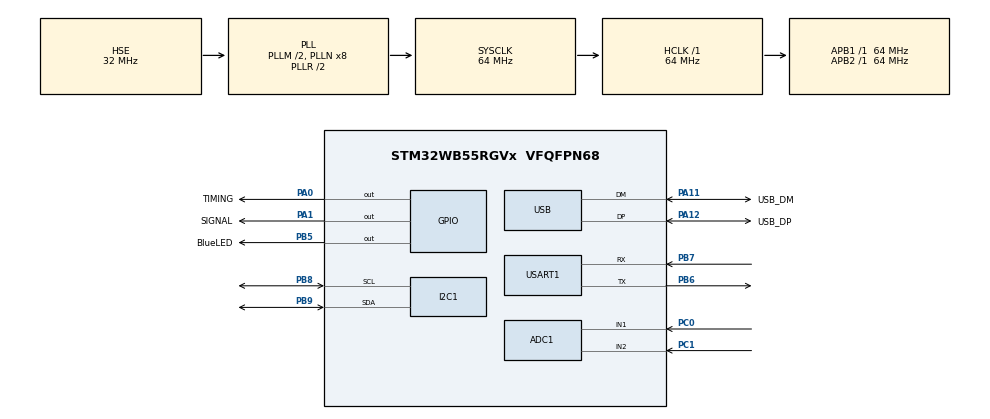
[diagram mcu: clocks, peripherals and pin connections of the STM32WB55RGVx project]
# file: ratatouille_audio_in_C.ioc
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ADC1.Channel-0\#ChannelRegularConversion=ADC_CHANNEL_1
ADC1.Channel-1\#ChannelRegularConversion=ADC_CHANNEL_2
ADC1.ClockPrescaler=ADC_CLOCK_SYNC_PCLK_DIV1
ADC1.ContinuousConvMode=ENABLE
ADC1.DMAContinuousRequests=ENABLE
ADC1.NbrOfConversion=2
ADC1.NbrOfConversionFlag=1
ADC1.OffsetNumber-0\#ChannelRegularConversion=ADC_OFFSET_NONE
ADC1.OffsetNumber-1\#ChannelRegularConversion=ADC_OFFSET_NONE
ADC1.Rank-0\#ChannelRegularConversion=1
ADC1.Rank-1\#ChannelRegularConversion=2
ADC1.SamplingTime-0\#ChannelRegularConversion=ADC_SAMPLETIME_247CYCLES_5
ADC1.SamplingTime-1\#ChannelRegularConversion=ADC_SAMPLETIME_247CYCLES_5
ADC1.master=1
Dma.ADC1.0.Direction=DMA_PERIPH_TO_MEMORY
Dma.ADC1.0.EventEnable=DISABLE
Dma.ADC1.0.Instance=DMA1_Channel1
Dma.ADC1.0.MemDataAlignment=DMA_MDATAALIGN_HALFWORD
Dma.ADC1.0.MemInc=DMA_MINC_ENABLE
Dma.ADC1.0.Mode=DMA_CIRCULAR
Dma.ADC1.0.PeriphDataAlignment=DMA_PDATAALIGN_HALFWORD
Dma.ADC1.0.PeriphInc=DMA_PINC_DISABLE
Dma.ADC1.0.Polarity=HAL_DMAMUX_REQ_GEN_RISING
Dma.ADC1.0.Priority=DMA_PRIORITY_LOW
Dma.ADC1.0.RequestNumber=1
Dma.ADC1.0.SignalID=NONE
Dma.ADC1.0.SyncEnable=DISABLE
Dma.ADC1.0.SyncPolarity=HAL_DMAMUX_SYNC_NO_EVENT
Dma.ADC1.0.SyncRequestNumber=1
Dma.ADC1.0.SyncSignalID=NONE
Dma.Request0=ADC1
I2C1.Timing=0x10B17DB5
Mcu.Family=STM32WB
Mcu.Name=STM32WB55RGVx
Mcu.Package=VFQFPN68
NVIC.ADC1_IRQn=true\:2\:0\:true\:false\:true\:true\:true\:true
NVIC.DMA1_Channel1_IRQn=true\:0\:0\:false\:false\:true\:false\:true\:true
NVIC.I2C1_ER_IRQn=true\:0\:0\:false\:false\:true\:true\:true\:true
NVIC.I2C1_EV_IRQn=true\:0\:0\:false\:false\:true\:true\:true\:true
NVIC.PriorityGroup=NVIC_PRIORITYGROUP_4
NVIC.TIM2_IRQn=true\:0\:0\:false\:false\:true\:true\:true\:true
NVIC.USB_HP_IRQn=true\:0\:0\:false\:false\:true\:true\:true\:true
NVIC.USB_LP_IRQn=true\:0\:0\:false\:false\:true\:true\:true\:true
OSC_IN.GPIO_Label=RCC_OSC_IN
OSC_IN.Mode=HSE-External-Oscillator
OSC_IN.Signal=RCC_OSC_IN
OSC_OUT.GPIO_Label=RCC_OSC_OUT
OSC_OUT.Mode=HSE-External-Oscillator
OSC_OUT.Signal=RCC_OSC_OUT
PA0.GPIO_Label=TIMING
PA0.GPIO_Speed=GPIO_SPEED_FREQ_MEDIUM
PA0.Signal=GPIO_Output
PA1.GPIO_Label=SIGNAL
PA1.Signal=GPIO_Output
PA11.GPIO_Label=USB_DM
PA11.Mode=Device
PA11.Signal=USB_DM
PA12.GPIO_Label=USB_DP
PA12.Mode=Device
PA12.Signal=USB_DP
PA13.GPIO_Label=JTMS
PA13.Signal=SYS_JTMS-SWDIO
PA14.GPIO_Label=JTCK
PA14.Signal=SYS_JTCK-SWCLK
PB3.GPIO_Label=JTDO
PB3.Signal=SYS_JTDO-SWO
PB5.GPIO_Label=BlueLED
PB5.Signal=GPIO_Output
PB6.Mode=Asynchronous
PB6.Signal=USART1_TX
PB7.Mode=Asynchronous
PB7.Signal=USART1_RX
PB8.Mode=I2C
PB8.Signal=I2C1_SCL
PB9.Mode=I2C
PB9.Signal=I2C1_SDA
PC0.Signal=ADCx_IN1
PC1.Signal=ADCx_IN2
PC13.GPIO_Label=SYS_WKUP2
PC13.Signal=SYS_WKUP2
PC14-OSC32_IN.GPIO_Label=RCC_OSC32_IN
PC14-OSC32_IN.Mode=LSE-External-Oscillator
PC14-OSC32_IN.Signal=RCC_OSC32_IN
PC15-OSC32_OUT.GPIO_Label=RCC_OSC32_OUT
PC15-OSC32_OUT.Mode=LSE-External-Oscillator
PC15-OSC32_OUT.Signal=RCC_OSC32_OUT
ProjectManager.HeapSize=0x200
ProjectManager.StackSize=0x400
ProjectManager.TargetToolchain=STM32CubeIDE
RCC.ADCFreq_Value=48000000
RCC.AHB2CLKDivider=RCC_SYSCLK_DIV2
RCC.AHBFreq_Value=64000000
RCC.APB1Freq_Value=64000000
RCC.APB1TimFreq_Value=64000000
RCC.APB2Freq_Value=64000000
RCC.APB2TimFreq_Value=64000000
RCC.APB3Freq_Value=16000000
RCC.Cortex2_Div=SYSTICK_CLKSOURCE_HCLK_DIV8
RCC.CortexFreq_Value=64000000
RCC.HCLKFreq_Value=64000000
RCC.HSE_VALUE=32000000
RCC.HSI48_VALUE=48000000
RCC.HSI_VALUE=16000000
RCC.PLLM=RCC_PLLM_DIV2
RCC.PLLSAI1N=6
RCC.PLLSourceVirtual=RCC_PLLSOURCE_HSE
RCC.SMPSCLockSelection=RCC_SMPSCLKSOURCE_HSI
RCC.SMPSCLockSelectionVirtual=RCC_SMPSCLKSOURCE_HSI
RCC.SMPSCLockSelectionVirtualVirtual=RCC_SMPSCLKSOURCE_HSI
RCC.SMPSDivider=1
RCC.SYSCLKFreq_VALUE=64000000
RCC.SYSCLKSource=RCC_SYSCLKSOURCE_PLLCLK
RCC.USBFreq_Value=48000000
RCC.VCOOutputFreq_Value=128000000
SH.ADCx_IN1.0=ADC1_IN1,IN1-Single-Ended
SH.ADCx_IN2.0=ADC1_IN2,IN2-Single-Ended
TIM2.AutoReloadPreload=TIM_AUTORELOAD_PRELOAD_ENABLE
TIM2.CounterMode=TIM_COUNTERMODE_UP
TIM2.Period=256000-1
TIM2.Prescaler=1
TIM2.TIM_MasterOutputTrigger=TIM_TRGO_UPDATE
USART1.VirtualMode-Asynchronous=VM_ASYNC
USB_DEVICE.CLASS_NAME_FS=CDC
USB_DEVICE.USBD_DEBUG_LEVEL=2
USB_DEVICE.VirtualMode=Cdc
USB_DEVICE.VirtualModeFS=Cdc_FS
VP_MEMORYMAP_VS_MEMORYMAP.Mode=CurAppReg
VP_TIM2_VS_ClockSourceINT.Mode=Internal
VP_USB_DEVICE_VS_USB_DEVICE_CDC_FS.Mode=CDC_FS
board=NUCLEO-WB55RG

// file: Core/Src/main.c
/* USER CODE BEGIN Header */
/**
  ******************************************************************************
  * @file           : main.c
  * @brief          : Main program body
  ******************************************************************************
  * @attention
  *
  * Copyright (c) 2024 STMicroelectronics.
  * All rights reserved.
  *
  * This software is licensed under terms that can be found in the LICENSE file
  * in the root directory of this software component.
  * If no LICENSE file comes with this software, it is provided AS-IS.
  *
  ******************************************************************************
  */
/* USER CODE END Header */
#include "main.h"
#include "usb_device.h"

/* USER CODE BEGIN Includes */
#include <stdio.h>
#include <stdint.h>
#include <string.h>
#include "usbd_cdc_if.h"
#include "bmi160_wrapper.h"
/* USER CODE END Includes */

ADC_HandleTypeDef hadc1;
DMA_HandleTypeDef hdma_adc1;

I2C_HandleTypeDef hi2c1;

TIM_HandleTypeDef htim2;

UART_HandleTypeDef huart1;

/* USER CODE BEGIN PV */
/*TIMO here you define global variables. Also every code you write must be
 * inside a USER CODE section otherwise it gets overwritten. Important to remember*/

uint16_t rawValues[2]; //this will be location where adc readings are stored
uint16_t sample; //this will be your audio sample every sample period
uint8_t flag = 0; //this will notify the main loop new sample is available
char msg[50]; //for debug messages
/* USER CODE END PV */

void SystemClock_Config(void);
void PeriphCommonClock_Config(void);
static void MX_GPIO_Init(void);
static void MX_DMA_Init(void);
static void MX_ADC1_Init(void);
static void MX_TIM2_Init(void);
static void MX_I2C1_Init(void);
static void MX_USART1_UART_Init(void);
/* USER CODE BEGIN PFP */
/*TIMO here definue function prototypes so you can call functions from functions without
 * worrying about order they appear in */
void update_data_packet_audio_buffered(uint16_t var1, uint16_t var2, uint8_t *buffer, size_t *length);
/* USER CODE END PFP */

/* USER CODE BEGIN 0 */
void HAL_TIM_PeriodElapsedCallback(TIM_HandleTypeDef *htim2)
  {
	//HAL_GPIO_TogglePin(TIMING_GPIO_Port, TIMING_Pin);
	////this checks the adc reading at specified frequency
	  for(uint8_t i = 0; i<hadc1.Init.NbrOfConversion; i++){
		  sample = (uint16_t) rawValues[0];
	  }
	  flag = 1;

  }
/*TIMO here one place to define subfuctions*/
/* USER CODE END 0 */

int main(void)
{

  /* MCU Configuration--------------------------------------------------------*/

  /* Reset of all peripherals, Initializes the Flash interface and the Systick. */
  HAL_Init();

  /* Configure the system clock */
  SystemClock_Config();

  /* Configure the peripherals common clocks */
  PeriphCommonClock_Config();

  /* Initialize all configured peripherals */
  MX_GPIO_Init();
  MX_DMA_Init();
  MX_ADC1_Init();
  MX_TIM2_Init();
  MX_USB_Device_Init();
  MX_I2C1_Init();
  MX_USART1_UART_Init();
  /* USER CODE BEGIN 2 */
  ////This begins the process of storing our ADC readings into the DMA. The DMA can be thought of a temporary storage location.
  HAL_ADC_Start_DMA(&hadc1, (uint32_t *) rawValues, 2);
    ////This begins our timer 2
  HAL_TIM_Base_Start_IT(&htim2);
  /*TIMO here setup stuff that happens once*/
  /* USER CODE END 2 */

  /* Infinite loop */
  /* USER CODE BEGIN WHILE */
  /*                                                                          ********************************************************************* */
  while (1)
  {
	  /*TIMO this is main loop. Don't put big functions in the timer callback,
	   *  but rather here, especially when transmitting data. As an example this code will print
	   *  samples via UART. Get PuTTy, set appropriate serial COM port and 115200 bitrate
	   *  and you can see the messages */
	  if(flag == 1){
		  snprintf(msg, sizeof(msg), "new sample: %d \r\n",sample);
		  HAL_UART_Transmit(&huart1, (uint8_t *) msg, strlen(msg), HAL_MAX_DELAY);
		  HAL_GPIO_TogglePin(BlueLED_GPIO_Port, BlueLED_Pin);
		  flag = 0;
	  }

  /*                                                                          ********************************************************************* */
    /* USER CODE END WHILE */

  }
}

void SystemClock_Config(void)
{
  RCC_OscInitTypeDef RCC_OscInitStruct = {0};
  RCC_ClkInitTypeDef RCC_ClkInitStruct = {0};

  /** Configure the main internal regulator output voltage
  */
  __HAL_PWR_VOLTAGESCALING_CONFIG(PWR_REGULATOR_VOLTAGE_SCALE1);

  /** Initializes the RCC Oscillators according to the specified parameters
  * in the RCC_OscInitTypeDef structure.
  */
  RCC_OscInitStruct.OscillatorType = RCC_OSCILLATORTYPE_HSI|RCC_OSCILLATORTYPE_HSE;
  RCC_OscInitStruct.HSEState = RCC_HSE_ON;
  RCC_OscInitStruct.HSIState = RCC_HSI_ON;
  RCC_OscInitStruct.HSICalibrationValue = RCC_HSICALIBRATION_DEFAULT;
  RCC_OscInitStruct.PLL.PLLState = RCC_PLL_ON;
  RCC_OscInitStruct.PLL.PLLSource = RCC_PLLSOURCE_HSE;
  RCC_OscInitStruct.PLL.PLLM = RCC_PLLM_DIV2;
  RCC_OscInitStruct.PLL.PLLN = 8;
  RCC_OscInitStruct.PLL.PLLP = RCC_PLLP_DIV2;
  RCC_OscInitStruct.PLL.PLLR = RCC_PLLR_DIV2;
  RCC_OscInitStruct.PLL.PLLQ = RCC_PLLQ_DIV2;
  if (HAL_RCC_OscConfig(&RCC_OscInitStruct) != HAL_OK)
  {
    Error_Handler();
  }

  /** Configure the SYSCLKSource, HCLK, PCLK1 and PCLK2 clocks dividers
  */
  RCC_ClkInitStruct.ClockType = RCC_CLOCKTYPE_HCLK4|RCC_CLOCKTYPE_HCLK2
                              |RCC_CLOCKTYPE_HCLK|RCC_CLOCKTYPE_SYSCLK
                              |RCC_CLOCKTYPE_PCLK1|RCC_CLOCKTYPE_PCLK2;
  RCC_ClkInitStruct.SYSCLKSource = RCC_SYSCLKSOURCE_PLLCLK;
  RCC_ClkInitStruct.AHBCLKDivider = RCC_SYSCLK_DIV1;
  RCC_ClkInitStruct.APB1CLKDivider = RCC_HCLK_DIV1;
  RCC_ClkInitStruct.APB2CLKDivider = RCC_HCLK_DIV1;
  RCC_ClkInitStruct.AHBCLK2Divider = RCC_SYSCLK_DIV2;
  RCC_ClkInitStruct.AHBCLK4Divider = RCC_SYSCLK_DIV1;

  if (HAL_RCC_ClockConfig(&RCC_ClkInitStruct, FLASH_LATENCY_3) != HAL_OK)
  {
    Error_Handler();
  }
}

void PeriphCommonClock_Config(void)
{
  RCC_PeriphCLKInitTypeDef PeriphClkInitStruct = {0};

  /** Initializes the peripherals clock
  */
  PeriphClkInitStruct.PeriphClockSelection = RCC_PERIPHCLK_SMPS|RCC_PERIPHCLK_USB
                              |RCC_PERIPHCLK_ADC;
  PeriphClkInitStruct.PLLSAI1.PLLN = 6;
  PeriphClkInitStruct.PLLSAI1.PLLP = RCC_PLLP_DIV2;
  PeriphClkInitStruct.PLLSAI1.PLLQ = RCC_PLLQ_DIV2;
  PeriphClkInitStruct.PLLSAI1.PLLR = RCC_PLLR_DIV2;
  PeriphClkInitStruct.PLLSAI1.PLLSAI1ClockOut = RCC_PLLSAI1_USBCLK|RCC_PLLSAI1_ADCCLK;
  PeriphClkInitStruct.UsbClockSelection = RCC_USBCLKSOURCE_PLLSAI1;
  PeriphClkInitStruct.AdcClockSelection = RCC_ADCCLKSOURCE_PLLSAI1;
  PeriphClkInitStruct.SmpsClockSelection = RCC_SMPSCLKSOURCE_HSI;
  PeriphClkInitStruct.SmpsDivSelection = RCC_SMPSCLKDIV_RANGE0;

  if (HAL_RCCEx_PeriphCLKConfig(&PeriphClkInitStruct) != HAL_OK)
  {
    Error_Handler();
  }
}

static void MX_ADC1_Init(void)
{

  ADC_ChannelConfTypeDef sConfig = {0};

  /** Common config
  */
  hadc1.Instance = ADC1;
  hadc1.Init.ClockPrescaler = ADC_CLOCK_SYNC_PCLK_DIV1;
  hadc1.Init.Resolution = ADC_RESOLUTION_12B;
  hadc1.Init.DataAlign = ADC_DATAALIGN_RIGHT;
  hadc1.Init.ScanConvMode = ADC_SCAN_ENABLE;
  hadc1.Init.EOCSelection = ADC_EOC_SINGLE_CONV;
  hadc1.Init.LowPowerAutoWait = DISABLE;
  hadc1.Init.ContinuousConvMode = ENABLE;
  hadc1.Init.NbrOfConversion = 2;
  hadc1.Init.DiscontinuousConvMode = DISABLE;
  hadc1.Init.ExternalTrigConv = ADC_SOFTWARE_START;
  hadc1.Init.ExternalTrigConvEdge = ADC_EXTERNALTRIGCONVEDGE_NONE;
  hadc1.Init.DMAContinuousRequests = ENABLE;
  hadc1.Init.Overrun = ADC_OVR_DATA_PRESERVED;
  hadc1.Init.OversamplingMode = DISABLE;
  if (HAL_ADC_Init(&hadc1) != HAL_OK)
  {
    Error_Handler();
  }

  /** Configure Regular Channel
  */
  sConfig.Channel = ADC_CHANNEL_1;
  sConfig.Rank = ADC_REGULAR_RANK_1;
  sConfig.SamplingTime = ADC_SAMPLETIME_247CYCLES_5;
  sConfig.SingleDiff = ADC_SINGLE_ENDED;
  sConfig.OffsetNumber = ADC_OFFSET_NONE;
  sConfig.Offset = 0;
  if (HAL_ADC_ConfigChannel(&hadc1, &sConfig) != HAL_OK)
  {
    Error_Handler();
  }

  /** Configure Regular Channel
  */
  sConfig.Channel = ADC_CHANNEL_2;
  sConfig.Rank = ADC_REGULAR_RANK_2;
  if (HAL_ADC_ConfigChannel(&hadc1, &sConfig) != HAL_OK)
  {
    Error_Handler();
  }

}

static void MX_I2C1_Init(void)
{

  hi2c1.Instance = I2C1;
  hi2c1.Init.Timing = 0x10B17DB5;
  hi2c1.Init.OwnAddress1 = 0;
  hi2c1.Init.AddressingMode = I2C_ADDRESSINGMODE_7BIT;
  hi2c1.Init.DualAddressMode = I2C_DUALADDRESS_DISABLE;
  hi2c1.Init.OwnAddress2 = 0;
  hi2c1.Init.OwnAddress2Masks = I2C_OA2_NOMASK;
  hi2c1.Init.GeneralCallMode = I2C_GENERALCALL_DISABLE;
  hi2c1.Init.NoStretchMode = I2C_NOSTRETCH_DISABLE;
  if (HAL_I2C_Init(&hi2c1) != HAL_OK)
  {
    Error_Handler();
  }

  /** Configure Analogue filter
  */
  if (HAL_I2CEx_ConfigAnalogFilter(&hi2c1, I2C_ANALOGFILTER_ENABLE) != HAL_OK)
  {
    Error_Handler();
  }

  /** Configure Digital filter
  */
  if (HAL_I2CEx_ConfigDigitalFilter(&hi2c1, 0) != HAL_OK)
  {
    Error_Handler();
  }

}

static void MX_TIM2_Init(void)
{

  TIM_ClockConfigTypeDef sClockSourceConfig = {0};
  TIM_MasterConfigTypeDef sMasterConfig = {0};

  htim2.Instance = TIM2;
  htim2.Init.Prescaler = 1;
  htim2.Init.CounterMode = TIM_COUNTERMODE_UP;
  htim2.Init.Period = 256000-1;
  htim2.Init.ClockDivision = TIM_CLOCKDIVISION_DIV1;
  htim2.Init.AutoReloadPreload = TIM_AUTORELOAD_PRELOAD_ENABLE;
  if (HAL_TIM_Base_Init(&htim2) != HAL_OK)
  {
    Error_Handler();
  }
  sClockSourceConfig.ClockSource = TIM_CLOCKSOURCE_INTERNAL;
  if (HAL_TIM_ConfigClockSource(&htim2, &sClockSourceConfig) != HAL_OK)
  {
    Error_Handler();
  }
  sMasterConfig.MasterOutputTrigger = TIM_TRGO_UPDATE;
  sMasterConfig.MasterSlaveMode = TIM_MASTERSLAVEMODE_DISABLE;
  if (HAL_TIMEx_MasterConfigSynchronization(&htim2, &sMasterConfig) != HAL_OK)
  {
    Error_Handler();
  }

}

static void MX_USART1_UART_Init(void)
{

  huart1.Instance = USART1;
  huart1.Init.BaudRate = 115200;
  huart1.Init.WordLength = UART_WORDLENGTH_8B;
  huart1.Init.StopBits = UART_STOPBITS_1;
  huart1.Init.Parity = UART_PARITY_NONE;
  huart1.Init.Mode = UART_MODE_TX_RX;
  huart1.Init.HwFlowCtl = UART_HWCONTROL_NONE;
  huart1.Init.OverSampling = UART_OVERSAMPLING_16;
  huart1.Init.OneBitSampling = UART_ONE_BIT_SAMPLE_DISABLE;
  huart1.Init.ClockPrescaler = UART_PRESCALER_DIV1;
  huart1.AdvancedInit.AdvFeatureInit = UART_ADVFEATURE_NO_INIT;
  if (HAL_UART_Init(&huart1) != HAL_OK)
  {
    Error_Handler();
  }
  if (HAL_UARTEx_SetTxFifoThreshold(&huart1, UART_TXFIFO_THRESHOLD_1_8) != HAL_OK)
  {
    Error_Handler();
  }
  if (HAL_UARTEx_SetRxFifoThreshold(&huart1, UART_RXFIFO_THRESHOLD_1_8) != HAL_OK)
  {
    Error_Handler();
  }
  if (HAL_UARTEx_DisableFifoMode(&huart1) != HAL_OK)
  {
    Error_Handler();
  }

}

static void MX_DMA_Init(void)
{

  /* DMA controller clock enable */
  __HAL_RCC_DMAMUX1_CLK_ENABLE();
  __HAL_RCC_DMA1_CLK_ENABLE();

  /* DMA interrupt init */
  /* DMA1_Channel1_IRQn interrupt configuration */
  HAL_NVIC_SetPriority(DMA1_Channel1_IRQn, 0, 0);
  HAL_NVIC_EnableIRQ(DMA1_Channel1_IRQn);

}

static void MX_GPIO_Init(void)
{
  GPIO_InitTypeDef GPIO_InitStruct = {0};

  /* GPIO Ports Clock Enable */
  __HAL_RCC_GPIOC_CLK_ENABLE();
  __HAL_RCC_GPIOB_CLK_ENABLE();
  __HAL_RCC_GPIOA_CLK_ENABLE();

  /*Configure GPIO pin Output Level */
  HAL_GPIO_WritePin(GPIOA, TIMING_Pin|SIGNAL_Pin, GPIO_PIN_RESET);

  /*Configure GPIO pin Output Level */
  HAL_GPIO_WritePin(BlueLED_GPIO_Port, BlueLED_Pin, GPIO_PIN_RESET);

  /*Configure GPIO pin : TIMING_Pin */
  GPIO_InitStruct.Pin = TIMING_Pin;
  GPIO_InitStruct.Mode = GPIO_MODE_OUTPUT_PP;
  GPIO_InitStruct.Pull = GPIO_NOPULL;
  GPIO_InitStruct.Speed = GPIO_SPEED_FREQ_MEDIUM;
  HAL_GPIO_Init(TIMING_GPIO_Port, &GPIO_InitStruct);

  /*Configure GPIO pin : SIGNAL_Pin */
  GPIO_InitStruct.Pin = SIGNAL_Pin;
  GPIO_InitStruct.Mode = GPIO_MODE_OUTPUT_PP;
  GPIO_InitStruct.Pull = GPIO_NOPULL;
  GPIO_InitStruct.Speed = GPIO_SPEED_FREQ_LOW;
  HAL_GPIO_Init(SIGNAL_GPIO_Port, &GPIO_InitStruct);

  /*Configure GPIO pin : BlueLED_Pin */
  GPIO_InitStruct.Pin = BlueLED_Pin;
  GPIO_InitStruct.Mode = GPIO_MODE_OUTPUT_PP;
  GPIO_InitStruct.Pull = GPIO_NOPULL;
  GPIO_InitStruct.Speed = GPIO_SPEED_FREQ_LOW;
  HAL_GPIO_Init(BlueLED_GPIO_Port, &GPIO_InitStruct);

}

/* USER CODE BEGIN 4 */
/*TIMO here another place to define subfuctions*/
void update_data_packet_audio_buffered(uint16_t var1, uint16_t var2, uint8_t *buffer, size_t *length) {
    // Define the start byte
	if (*length == 0){
		buffer[0] = (uint8_t)-128;
		(*length)++;
	}
    memcpy(&buffer[*length], &var1, sizeof(uint16_t));
    memcpy(&buffer[*length + sizeof(uint16_t)], &var2, sizeof(uint16_t));

    // Set the total length of the packet
    (*length) += 2*sizeof(uint16_t);
}
/* USER CODE END 4 */

void Error_Handler(void)
{
  __disable_irq();
  while (1)
  {
  }
}
